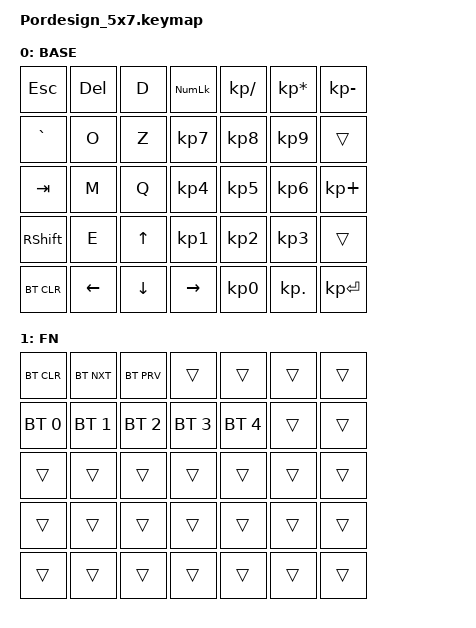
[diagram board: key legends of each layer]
#include <behaviors.dtsi>
#include <dt-bindings/zmk/keys.h>
#include <dt-bindings/zmk/bt.h>
#include <dt-bindings/zmk/outputs.h>

#define BASE 0
#define FN   1

/ {
    keymap {
        compatible = "zmk,keymap";

        base_layer {
            label = "BASE";
            bindings = <
                &kp ESC    &kp DEL   &kp D     &kp KP_NUMLOCK   &kp KP_SLASH     &kp KP_MULTIPLY  &kp KP_MINUS
                &kp GRAVE  &kp O     &kp Z     &kp KP_NUMBER_7  &kp KP_NUMBER_8  &kp KP_NUMBER_9  &trans 
                &kp TAB    &kp M     &kp Q     &kp KP_NUMBER_4  &kp KP_NUMBER_5  &kp KP_NUMBER_6  &kp KP_PLUS
                &kp RSHFT  &kp E     &kp UP    &kp KP_NUMBER_1  &kp KP_NUMBER_2  &kp KP_NUMBER_3  &trans 
                &bt BT_CLR      &kp LEFT  &kp DOWN  &kp RIGHT        &kp KP_NUMBER_0  &kp KP_DOT       &kp KP_ENTER


                            /*  ┌───────┬────────┬────────┬─────────┬─────────┬─────────┬────────┐
                                │  ESC  │   DEL  │    D   │ NUMLOCK │    /    │    *    │    -   │
                                ├───────┼────────┼────────┼─────────┼─────────┼─────────┼────────┤
                                │ `     │    O   │    Z   │    7    │    8    │    9    │(TRANS) │
                                ├───────┼────────┼────────┼─────────┼─────────┼─────────┼────────┤
                                │  TAB  │    M   │    Q   │    4    │    5    │    6    │    +   │
                                ├───────┼────────┼────────┼─────────┼─────────┼─────────┼────────┤
                                │  RSFT │    E   │    ↑   │    1    │    2    │    3    │ (TRANS)│
                                ├───────┼────────┼────────┼─────────┼─────────┼─────────┼────────┤
                                │ MO(1) │    ←   │    ↓   │    →    │    0    │    .    │  ENTER │
                                └───────┴────────┴────────┴─────────┴─────────┴─────────┴────────┘ */

            >;
        };

        fn_layer {
            label = "FN";
            bindings = <
                &bt BT_CLR    &bt BT_NXT    &bt BT_PRV    &trans       &trans         &trans   &trans 
                &bt BT_SEL 0  &bt BT_SEL 1  &bt BT_SEL 2  &bt BT_SEL 3  &bt BT_SEL 4  &trans   &trans 
                &trans        &trans        &trans        &trans        &trans        &trans   &trans 
                &trans        &trans        &trans        &trans        &trans        &trans   &trans
                &trans        &trans        &trans        &trans        &trans        &trans   &trans
            >;
        };
    };
};
